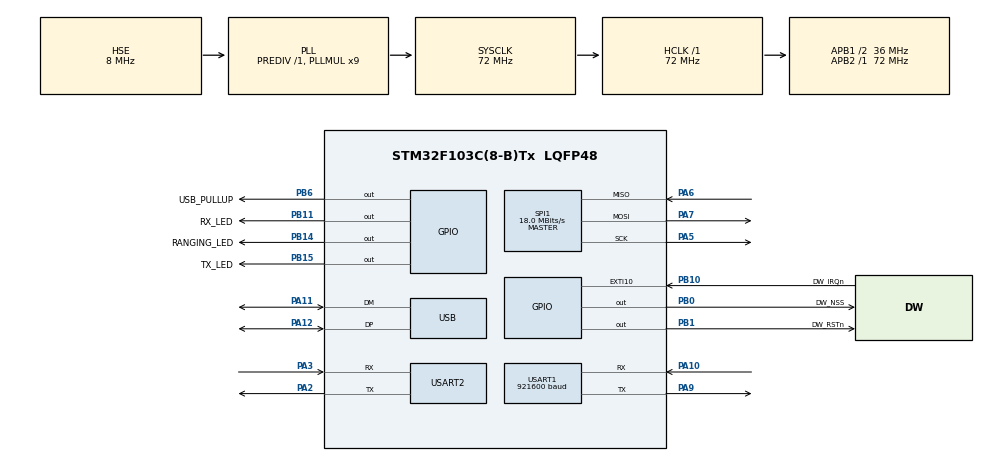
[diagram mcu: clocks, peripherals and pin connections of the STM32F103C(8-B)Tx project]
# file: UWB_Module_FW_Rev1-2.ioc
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Mcu.Family=STM32F1
PA6.Mode=Full_Duplex_Master
USB_DEVICE.CLASS_NAME_FS=CDC
FREERTOS.BinarySemaphores01=dw_irq_sem,Dynamic,NULL;debug_bin_sem,Dynamic,NULL;doRanging,Dynamic,NULL;doBroadcast,Dynamic,NULL;timeoutSem,Dynamic,NULL;usbDataReadySem,Dynamic,NULL
SPI1.VirtualType=VM_MASTER
USART1.BaudRate=921600
PB14.GPIO_Label=RANGING_LED
PA11.Mode=Device
PB0.GPIO_Label=DW_NSS
PB6.GPIO_Label=USB_PULLUP
NVIC.TIM1_UP_IRQn=true\:0\:0\:false\:false\:true\:false\:false\:true
PB11.Signal=GPIO_Output
PB15.Signal=GPIO_Output
PB15.PinState=GPIO_PIN_RESET
RCC.SYSCLKSource=RCC_SYSCLKSOURCE_PLLCLK
ProjectManager.StackSize=0x400
VP_FREERTOS_VS_CMSIS_V2.Mode=CMSIS_V2
PB11.GPIO_Speed=GPIO_SPEED_FREQ_HIGH
PD1-OSC_OUT.Signal=RCC_OSC_OUT
PA12.Signal=USB_DP
PB0.PinState=GPIO_PIN_SET
SPI1.Direction=SPI_DIRECTION_2LINES
PB1.GPIO_PuPd=GPIO_NOPULL
RCC.HCLKFreq_Value=72000000
RCC.APB2TimFreq_Value=72000000
PB6.Signal=GPIO_Output
SPI1.CalculateBaudRate=18.0 MBits/s
TIM2.ClockDivision=TIM_CLOCKDIVISION_DIV4
RCC.AHBFreq_Value=72000000
NVIC.EXTI15_10_IRQn=true\:5\:0\:false\:false\:true\:true\:true\:true
RCC.PLLMUL=RCC_PLL_MUL9
FREERTOS.INCLUDE_xQueueGetMutexHolder=0
PB1.GPIO_Speed=GPIO_SPEED_FREQ_HIGH
PA14.Mode=Serial_Wire
VP_SYS_VS_tim1.Mode=TIM1
PB1.GPIO_Label=DW_RSTn
NVIC.TIM2_IRQn=true\:5\:0\:false\:false\:true\:true\:true\:true
PB1.PinState=GPIO_PIN_SET
Mcu.Package=LQFP48
TIM2.Prescaler=18000
PB1.Signal=GPIO_Output
PA6.Signal=SPI1_MISO
NVIC.TimeBase=TIM1_UP_IRQn
USART2.VirtualMode=VM_ASYNC
NVIC.TimeBaseIP=TIM1
PA10.Signal=USART1_RX
PB11.PinState=GPIO_PIN_RESET
RCC.APB1TimFreq_Value=72000000
SPI1.BaudRatePrescaler=SPI_BAUDRATEPRESCALER_4
PA3.Signal=USART2_RX
PA5.Mode=Full_Duplex_Master
RCC.PLLSourceVirtual=RCC_PLLSOURCE_HSE
FREERTOS.Tasks01=defaultTask,32,200,StartDefaultTask,Default,NULL,Dynamic,NULL,NULL;userIOTask,24,200,StartUserIOTask,Default,NULL,Dynamic,NULL,NULL
PA7.Mode=Full_Duplex_Master
PD1-OSC_OUT.Mode=HSE-External-Oscillator
PA10.Mode=Asynchronous
USB_DEVICE.VirtualModeFS=Cdc_FS
PB11.GPIO_Label=RX_LED
RCC.USBPrescaler=RCC_USBCLKSOURCE_PLL_DIV1_5
PD0-OSC_IN.Signal=RCC_OSC_IN
RCC.APB1CLKDivider=RCC_HCLK_DIV2
FREERTOS.INCLUDE_uxTaskGetStackHighWaterMark=0
PB0.GPIO_Speed=GPIO_SPEED_FREQ_HIGH
PA13.Signal=SYS_JTMS-SWDIO
PA3.Mode=Asynchronous
PA9.Mode=Asynchronous
PB14.PinState=GPIO_PIN_RESET
ProjectManager.TargetToolchain=Makefile
PB14.GPIO_Speed=GPIO_SPEED_FREQ_HIGH
PB10.GPIO_Label=DW_IRQn
VP_USB_DEVICE_VS_USB_DEVICE_CDC_FS.Mode=CDC_FS
PA9.Signal=USART1_TX
RCC.USBFreq_Value=48000000
PD0-OSC_IN.Mode=HSE-External-Oscillator
PB10.Signal=GPXTI10
PB14.Signal=GPIO_Output
PA5.Signal=SPI1_SCK
board=custom
FREERTOS.INCLUDE_eTaskGetState=0
RCC.APB2Freq_Value=72000000
PB15.GPIO_Label=TX_LED
VP_TIM2_VS_ClockSourceINT.Mode=Internal
SPI1.Mode=SPI_MODE_MASTER
PB15.GPIO_Speed=GPIO_SPEED_FREQ_HIGH
NVIC.USB_LP_CAN1_RX0_IRQn=true\:5\:0\:false\:false\:true\:true\:false\:true
TIM2.Period=250
PA13.Mode=Serial_Wire
PB10.GPIO_ModeDefaultEXTI=GPIO_MODE_IT_RISING
Mcu.Name=STM32F103C(8-B)Tx
FREERTOS.INCLUDE_xTaskResumeFromISR=1
FREERTOS.INCLUDE_xSemaphoreGetMutexHolder=0
PA2.Signal=USART2_TX
RCC.SYSCLKFreq_VALUE=72000000
PA12.Mode=Device
USART1.VirtualMode=VM_ASYNC
PB6.PinState=GPIO_PIN_RESET
PA11.Signal=USB_DM
PA14.Signal=SYS_JTCK-SWCLK
ProjectManager.HeapSize=0x200
FREERTOS.Timers01=rangingTimer,rangingTimerCallback,osTimerPeriodic,Default,NULL,Dynamic,NULL;broadcastTimer,broadcastTimerCallback,osTimerPeriodic,Default,NULL,Dynamic,NULL;rangingTimeoutTimer,timeoutCallback,osTimerOnce,Default,NULL,Dynamic,NULL
NVIC.PriorityGroup=NVIC_PRIORITYGROUP_4
PA2.Mode=Asynchronous
TIM2.AutoReloadPreload=TIM_AUTORELOAD_PRELOAD_ENABLE
PB1.GPIO_ModeDefaultOutputPP=GPIO_MODE_OUTPUT_OD
PB6.GPIO_Speed=GPIO_SPEED_FREQ_HIGH
RCC.APB1Freq_Value=36000000
PB0.Signal=GPIO_Output
USB_DEVICE.VirtualMode=Cdc
PA7.Signal=SPI1_MOSI

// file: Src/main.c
/* USER CODE BEGIN Header */
/**
  ******************************************************************************
  * @file           : main.c
  * @brief          : Main program body
  ******************************************************************************
  * @attention
  *
  * <h2><center>&copy; Copyright (c) 2020 STMicroelectronics.
  * All rights reserved.</center></h2>
  *
  * This software component is licensed by ST under Ultimate Liberty license
  * SLA0044, the "License"; You may not use this file except in compliance with
  * the License. You may obtain a copy of the License at:
  *                             www.st.com/SLA0044
  *
  ******************************************************************************
  */
/* USER CODE END Header */

#include "main.h"
#include "cmsis_os.h"
#include "spi.h"
#include "tim.h"
#include "usart.h"
#include "usb_device.h"
#include "gpio.h"

/* USER CODE BEGIN Includes */
#include <inttypes.h>
#include "semphr.h"
#include "string.h"
#include "comm.h"
#include "rtls.h"
/* USER CODE END Includes */

/* USER CODE BEGIN PV */
uint8_t* debug_buf;
AnchorData* anchor_data;
TagData* tag_data;
extern osSemaphoreId_t doRangingHandle;
/* USER CODE END PV */

void SystemClock_Config(void);
void MX_FREERTOS_Init(void);

int main(void)
{

  /* MCU Configuration--------------------------------------------------------*/

  /* Reset of all peripherals, Initializes the Flash interface and the Systick. */
  HAL_Init();

  /* Configure the system clock */
  SystemClock_Config();

  /* Initialize all configured peripherals */
  MX_GPIO_Init();
  MX_SPI1_Init();
  MX_USART1_UART_Init();
  MX_USART2_UART_Init();
  MX_TIM2_Init();
  /* USER CODE BEGIN 2 */
  debug_buf = (uint8_t*)malloc(DEBUG_BUF_SIZE);
  anchor_data = (AnchorData*)malloc((ANCHOR_LIST_SIZE + 1)*sizeof(struct AnchorData));
  tag_data    = (TagData*)malloc(TAG_QUEUE_SIZE*sizeof(TagData));
  /* USER CODE END 2 */

  /* Init scheduler */
  osKernelInitialize();  /* Call init function for freertos objects (in freertos.c) */
  MX_FREERTOS_Init();
  /* Start scheduler */
  osKernelStart();

  /* We should never get here as control is now taken by the scheduler */
  /* Infinite loop */
  while (1)
  {

  }
}

void SystemClock_Config(void)
{
  RCC_OscInitTypeDef RCC_OscInitStruct = {0};
  RCC_ClkInitTypeDef RCC_ClkInitStruct = {0};
  RCC_PeriphCLKInitTypeDef PeriphClkInit = {0};

  /** Initializes the CPU, AHB and APB busses clocks
  */
  RCC_OscInitStruct.OscillatorType = RCC_OSCILLATORTYPE_HSE;
  RCC_OscInitStruct.HSEState = RCC_HSE_ON;
  RCC_OscInitStruct.HSEPredivValue = RCC_HSE_PREDIV_DIV1;
  RCC_OscInitStruct.HSIState = RCC_HSI_ON;
  RCC_OscInitStruct.PLL.PLLState = RCC_PLL_ON;
  RCC_OscInitStruct.PLL.PLLSource = RCC_PLLSOURCE_HSE;
  RCC_OscInitStruct.PLL.PLLMUL = RCC_PLL_MUL9;
  if (HAL_RCC_OscConfig(&RCC_OscInitStruct) != HAL_OK)
  {
    Error_Handler();
  }
  /** Initializes the CPU, AHB and APB busses clocks
  */
  RCC_ClkInitStruct.ClockType = RCC_CLOCKTYPE_HCLK|RCC_CLOCKTYPE_SYSCLK
                              |RCC_CLOCKTYPE_PCLK1|RCC_CLOCKTYPE_PCLK2;
  RCC_ClkInitStruct.SYSCLKSource = RCC_SYSCLKSOURCE_PLLCLK;
  RCC_ClkInitStruct.AHBCLKDivider = RCC_SYSCLK_DIV1;
  RCC_ClkInitStruct.APB1CLKDivider = RCC_HCLK_DIV2;
  RCC_ClkInitStruct.APB2CLKDivider = RCC_HCLK_DIV1;

  if (HAL_RCC_ClockConfig(&RCC_ClkInitStruct, FLASH_LATENCY_2) != HAL_OK)
  {
    Error_Handler();
  }
  PeriphClkInit.PeriphClockSelection = RCC_PERIPHCLK_USB;
  PeriphClkInit.UsbClockSelection = RCC_USBCLKSOURCE_PLL_DIV1_5;
  if (HAL_RCCEx_PeriphCLKConfig(&PeriphClkInit) != HAL_OK)
  {
    Error_Handler();
  }
}

 /**
  * @brief  Period elapsed callback in non blocking mode
  * @note   This function is called  when TIM1 interrupt took place, inside
  * HAL_TIM_IRQHandler(). It makes a direct call to HAL_IncTick() to increment
  * a global variable "uwTick" used as application time base.
  * @param  htim : TIM handle
  * @retval None
  */
void HAL_TIM_PeriodElapsedCallback(TIM_HandleTypeDef *htim)
{
  if (htim->Instance == TIM1) {
    HAL_IncTick();
  }
  /* USER CODE BEGIN Callback 1 */
  // if (htim->Instance == TIM2){
  //   xSemaphoreGiveFromISR(doRangingHandle, NULL);
  // }
  /* USER CODE END Callback 1 */
}

void Error_Handler(void)
{
}

/************************ (C) COPYRIGHT STMicroelectronics *****END OF FILE****/

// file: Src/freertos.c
/* USER CODE BEGIN Header */
/**
  ******************************************************************************
  * File Name          : freertos.c
  * Description        : Code for freertos applications
  ******************************************************************************
  * @attention
  *
  * <h2><center>&copy; Copyright (c) 2020 STMicroelectronics.
  * All rights reserved.</center></h2>
  *
  * This software component is licensed by ST under Ultimate Liberty license
  * SLA0044, the "License"; You may not use this file except in compliance with
  * the License. You may obtain a copy of the License at:
  *                             www.st.com/SLA0044
  *
  ******************************************************************************
  */
/* USER CODE END Header */

#include "FreeRTOS.h"
#include "task.h"
#include "main.h"
#include "cmsis_os.h"

/* USER CODE BEGIN Includes */
#include <inttypes.h>
#include "semphr.h"
#include "usb_device.h"
#include "usbd_cdc_if.h"
#include "string.h"
#include "comm.h"
#include "rtls.h"
#include "usart.h"
#include "printf.h"
/* USER CODE END Includes */

/* USER CODE BEGIN PD */
#define IF_TYPE_USB 	0x01
#define IF_TYPE_UART 	0x02
/* USER CODE END PD */

/* USER CODE BEGIN Variables */
extern uint8_t* debug_buf;
int debug_buf_offset = 0; // indicates length of the string in debug_buf
char debug_text[80];
char scratch_buf[128];
int print_ind = 0;

static dwt_config_t config = {
		2,               /* Channel number. */
		DWT_PRF_64M,     /* Pulse repetition frequency. */
		DWT_PLEN_128,   /* Preamble length. Used in TX only. */
		DWT_PAC8,       /* Preamble acquisition chunk size. Used in RX only. */
		9,               /* TX preamble code. Used in TX only. */
		9,               /* RX preamble code. Used in RX only. */
		0,               /* 0 to use standard SFD, 1 to use non-standard SFD. */
		DWT_BR_6M8,      /* Data rate. */
		DWT_PHRMODE_STD, /* PHY header mode. */
		(1025 + 64)    	 /* SFD timeout (preamble length + 1 + SFD length - PAC size). Used in RX only. */
};

state_data_t 	state_data;
CONFIG_FIELD_TYPE self_config[FIELD_SIZE*NUM_FIELDS]; 	// configuration for ourselves
extern AnchorData* anchor_data;
extern TagData* tag_data;
extern uint8_t UserRxBufferFS[];
extern uint8_t UserTxBufferFS[];
state_t 		state 		= IDLE;
HAL_StatusTypeDef 	UART_status;
HAL_StatusTypeDef 	uart2_status; 	// status of uart2
int8_t 				usb_status;
uint32_t 			bytes_read; 	//
uint8_t packet[INPUT_BUFFER_SIZE]; 	// will hold received packet from host
uint8_t packet_type = 0; 			// type of received packet
int packet_len 	= 0; 			// length of received packet
int packet_rcvd 	= 0; 			// indicate if packet has been received and how to process it
uint8_t send_buf[SEND_BUF_SIZE]; 	// lorge buffer for response packet
int usb_ind = 0;

/* USER CODE END Variables */
/* Definitions for defaultTask */
osThreadId_t defaultTaskHandle;
const osThreadAttr_t defaultTask_attributes = {
  .name = "defaultTask",
  .priority = (osPriority_t) osPriorityAboveNormal,
  .stack_size = 200 * 4
};
/* Definitions for userIOTask */
osThreadId_t userIOTaskHandle;
const osThreadAttr_t userIOTask_attributes = {
  .name = "userIOTask",
  .priority = (osPriority_t) osPriorityNormal,
  .stack_size = 200 * 4
};
/* Definitions for rangingTimer */
osTimerId_t rangingTimerHandle;
const osTimerAttr_t rangingTimer_attributes = {
  .name = "rangingTimer"
};
/* Definitions for broadcastTimer */
osTimerId_t broadcastTimerHandle;
const osTimerAttr_t broadcastTimer_attributes = {
  .name = "broadcastTimer"
};
/* Definitions for rangingTimeoutTimer */
osTimerId_t rangingTimeoutTimerHandle;
const osTimerAttr_t rangingTimeoutTimer_attributes = {
  .name = "rangingTimeoutTimer"
};
/* Definitions for dw_irq_sem */
osSemaphoreId_t dw_irq_semHandle;
const osSemaphoreAttr_t dw_irq_sem_attributes = {
  .name = "dw_irq_sem"
};
/* Definitions for debug_bin_sem */
osSemaphoreId_t debug_bin_semHandle;
const osSemaphoreAttr_t debug_bin_sem_attributes = {
  .name = "debug_bin_sem"
};
/* Definitions for doRanging */
osSemaphoreId_t doRangingHandle;
const osSemaphoreAttr_t doRanging_attributes = {
  .name = "doRanging"
};
/* Definitions for doBroadcast */
osSemaphoreId_t doBroadcastHandle;
const osSemaphoreAttr_t doBroadcast_attributes = {
  .name = "doBroadcast"
};
/* Definitions for timeoutSem */
osSemaphoreId_t timeoutSemHandle;
const osSemaphoreAttr_t timeoutSem_attributes = {
  .name = "timeoutSem"
};
/* Definitions for usbDataReadySem */
osSemaphoreId_t usbDataReadySemHandle;
const osSemaphoreAttr_t usbDataReadySem_attributes = {
  .name = "usbDataReadySem"
};

/* USER CODE BEGIN FunctionPrototypes */
bool debug_put(char* text);
/* USER CODE END FunctionPrototypes */

void StartDefaultTask(void *argument);
void StartUserIOTask(void *argument);
void rangingTimerCallback(void *argument);
void broadcastTimerCallback(void *argument);
void timeoutCallback(void *argument);

extern void MX_USB_DEVICE_Init(void);
void MX_FREERTOS_Init(void); /* (MISRA C 2004 rule 8.1) */

void MX_FREERTOS_Init(void) {

  /* Create the semaphores(s) */
  /* creation of dw_irq_sem */
  dw_irq_semHandle = osSemaphoreNew(1, 1, &dw_irq_sem_attributes);

  /* creation of debug_bin_sem */
  debug_bin_semHandle = osSemaphoreNew(1, 1, &debug_bin_sem_attributes);

  /* creation of doRanging */
  doRangingHandle = osSemaphoreNew(1, 1, &doRanging_attributes);

  /* creation of doBroadcast */
  doBroadcastHandle = osSemaphoreNew(1, 1, &doBroadcast_attributes);

  /* creation of timeoutSem */
  timeoutSemHandle = osSemaphoreNew(1, 1, &timeoutSem_attributes);

  /* creation of usbDataReadySem */
  usbDataReadySemHandle = osSemaphoreNew(1, 1, &usbDataReadySem_attributes);

  /* Create the timer(s) */
  /* creation of rangingTimer */
  rangingTimerHandle = osTimerNew(rangingTimerCallback, osTimerPeriodic, NULL, &rangingTimer_attributes);

  /* creation of broadcastTimer */
  broadcastTimerHandle = osTimerNew(broadcastTimerCallback, osTimerPeriodic, NULL, &broadcastTimer_attributes);

  /* creation of rangingTimeoutTimer */
  rangingTimeoutTimerHandle = osTimerNew(timeoutCallback, osTimerOnce, NULL, &rangingTimeoutTimer_attributes);

  /* Create the thread(s) */
  /* creation of defaultTask */
  defaultTaskHandle = osThreadNew(StartDefaultTask, NULL, &defaultTask_attributes);

  /* creation of userIOTask */
  userIOTaskHandle = osThreadNew(StartUserIOTask, NULL, &userIOTask_attributes);

}

void StartDefaultTask(void *argument)
{
  /* init code for USB_DEVICE */
  MX_USB_DEVICE_Init();
  /* USER CODE BEGIN StartDefaultTask */
  init_anchor_array(anchor_data, ANCHOR_LIST_SIZE + 1);
  state_data.anchors = anchor_data;
  state_data.tags = tag_data;
  init_field_memory(self_config); // set everything to defaults
  read_config_from_eeprom(self_config); 	// pull any existing values from flash
  init_from_config(self_config, &config, &state_data); // inititalize the DWM1000 from our fields

  osDelay(state_data.self_id * 10); // stagger startup times

  if(state_data.mode == DEVICE_MODE_TAG){
		osTimerStart(rangingTimerHandle, state_data.ranging_period); // start the ranging timer
  }else{
		osTimerStart(broadcastTimerHandle, ANCHOR_BROADCAST_PERIOD + 10*state_data.self_id); // start the broadcast timer
  }
  /* Infinite loop */
  for(;;)
  {
    // Check if we've received a frame
    if(osSemaphoreAcquire(dw_irq_semHandle, 20) == osOK && read_rx_frame(state_data.rx_buffer) > 0){
      // we've received a frame
      // debug_put("Frame received\r\n");
			if(state_data.rx_buffer[MAC_SIZE_EXPECTED] == ANCHOR_BROADCAST){
        // debug_put("Processing Broadcast\r\n");
				process_anchor_broadcast(&state_data); // this also reenables receiver
			}else if(state_data.mode == DEVICE_MODE_TAG){
        // ==== NEW FRAME STATE MACHINE ====
        switch(state_data.state){
          case IDLE:{
            dwt_rxenable(DWT_START_RX_IMMEDIATE); // re-enable receiver and listen for broadcast
            osDelay(2); // while idle, delay between loop iterations
            break;
          }case WAIT_FOR_RESPONSE:{
            if(state_data.rx_buffer[MAC_SIZE_EXPECTED] == RESPONSE_INIT &&
              get_src_addr(state_data.rx_buffer) == state_data.transact_id){

              state_data.t_rr = get_rx_timestamp();

              send_response_final(&state_data);

              if(state_data.tx_status == TX_SUCCESS){
                set_wait_for_data(&state_data); // also enables receiver
                // debug_put("Got response\r\n");
              }else{
                debug_put("Transmit failed.\r\n");
                dwt_forcetrxoff();
                // init_from_config(self_config, &config, &state_data); // just reinitialize
                set_state_tag_idle(&state_data);
                osDelay(5);
              }

            }
            else{
              dwt_rxenable(DWT_START_RX_IMMEDIATE); // re-enable receiver and keep listening
            }
            break;
          }case WAIT_FOR_DATA:{
            if(state_data.rx_buffer[MAC_SIZE_EXPECTED] == RESPONSE_DATA && get_src_addr(state_data.rx_buffer) == state_data.transact_id){

              osTimerStop(rangingTimeoutTimerHandle); // stop the timeout timer

              AnchorData* anchor = &(state_data.anchors[state_data.anchor_ind]);

              // COPY ALL THE DATA OVER
              int ind = MAC_SIZE_EXPECTED + 1; // index for start of timestamps
              memcpy(&state_data.t_rp, state_data.rx_buffer + ind, sizeof(state_data.t_rp));
              ind += sizeof(state_data.t_rp);
              memcpy(&state_data.t_sr, state_data.rx_buffer + ind, sizeof(state_data.t_sr));
              ind += sizeof(state_data.t_sr);
              memcpy(&state_data.t_rf, state_data.rx_buffer + ind, sizeof(state_data.t_rf));
              ind += sizeof(state_data.t_rf);
              memcpy(&anchor->x, state_data.rx_buffer + ind, sizeof(anchor->x));
              ind += sizeof(anchor->x);
              memcpy(&anchor->y, state_data.rx_buffer + ind, sizeof(anchor->y));
              ind += sizeof(anchor->y);
              memcpy(&anchor->z, state_data.rx_buffer + ind, sizeof(anchor->z));
              ind += sizeof(anchor->z);
              anchor->timestamp = HAL_GetTick();

              get_tof(&state_data); // updates the tof field

              state_data.distance = DISTANCE_FROM_TOF(state_data.tof);

              anchor->timeout_count = 0; // only a successful ranging transaction will reset this counter
              anchor->distance = state_data.distance;
              sprintf(debug_text, "Distance to anchor %d is %.3f\r\n", anchor->id, anchor->distance);
              debug_put(debug_text);

              set_state_tag_idle(&state_data); 		// back to idle state

              next_anchor(&state_data); 				// increment anchor index

              osDelay(5);
            }
            break;
          }default:{
            set_state_tag_idle(&state_data);
            break;
          }
        }
        // dwt_rxenable(DWT_START_RX_IMMEDIATE); 	// finally, re-enable receiver and keep listening
      }else if(state_data.mode == DEVICE_MODE_ANCHOR){
        // react based on the frame type
        switch(state_data.rx_buffer[MAC_SIZE_EXPECTED]){
          case POLL:{

            state_data.t_rp = get_rx_timestamp(); 		// stash rx timestamp
            state_data.transact_id = get_src_addr(state_data.rx_buffer); // indicate who we're talking with

            // sprintf(debug_text, "Poll received from %d\r\n", state_data.transact_id);
            // debug_put(debug_text);

            TagData new_tag;
            int ind = find_tag(state_data.transact_id, state_data.tags);
            if(ind < 0){
              // didn't find it, so try to add it
              ind = add_tag(new_tag, state_data.tags);
            }

            if(ind >= 0){
              // we were able to add it
              enable_ranging(&state_data); // indicate ranging in progress
              state_data.tags[ind].active = 1;
              state_data.tags[ind].id = state_data.transact_id;
              state_data.tags[ind].t_rp = state_data.t_rp;

              dwt_forcetrxoff(); // seems we need to do this
              send_response_init(&state_data); 	// send a RESPONSE_INIT frame & stash t_sr timestamp
              state_data.tags[ind].t_sr = state_data.t_sr; // copy over for when we need to respond

              if(state_data.tx_status != TX_SUCCESS){
                init_from_config(self_config, &config, &state_data); // just reinitialize
              }else{
                // osTimerStart(rangingTimeoutTimerHandle, RANGING_TIMEOUT); // start the ranging timeout timer
                // osSemaphoreAcquire(timeoutSemHandle, 0);
              }
            }else{
              debug_put("Can't add tag, queue full\r\n");
            }

            break;
          }case SEND_FINAL:{
            state_data.transact_id = get_src_addr(state_data.rx_buffer); //
            state_data.t_rf = get_rx_timestamp(); 	// stash the timestamp

            int ind = find_tag(state_data.transact_id, state_data.tags);
            if(ind >= 0 && state_data.tags[ind].active){
              // we have a tag matching this transaction id and it's active
              state_data.t_rp = state_data.tags[ind].t_rp;
              state_data.t_sr = state_data.tags[ind].t_sr;
              state_data.tags[ind].t_rf = state_data.t_rf;

              send_response_data(&state_data); 		// send a RESPONSE_DATA frame. it packages all the timestamps from state_data
              disable_ranging(&state_data);
              state_data.tags[ind].active = 0;    // reset this flag since we're now done ranging with it
            }
            break;
          }default:{
            break;
          }
        }
        dwt_rxenable(DWT_START_RX_IMMEDIATE); // finally, make sure receiver is enabled
      }
    }// end if new frame
    else{
      // no RX Interrupt, but do the following anyway. Seems anchors don't work without this
      dwt_rxenable(DWT_START_RX_IMMEDIATE); // make sure receiver is enabled
    }

    // ---- Check if it's time for ranging ----
    if(state_data.mode == DEVICE_MODE_TAG && !state_data.ranging && state_data.num_anchors > 0 && osSemaphoreAcquire(doRangingHandle, 5) == osOK){
      enable_ranging(&state_data);

      dwt_forcetrxoff(); // in case we were in RX mode looking for a beacon frame

      // select whichever anchor we're ranging with
      state_data.transact_id = state_data.anchors[state_data.anchor_ind].id;

      // sprintf(debug_text, "ranging with %d, index %d\r\n", state_data.transact_id, state_data.anchor_ind);
      // debug_put(debug_text);

      int data_len = rtls_make_mac_header(&state_data, FRAME_TYPE_DATA); //make_mac_header(state_data.tx_buffer, state_data.transact_id, state_data.transact_id, state_data.seq_num);
      state_data.tx_buffer[data_len++] = POLL; // right after the MAC header

      if(transmit_frame(state_data.tx_buffer, data_len + 2, 1) != TX_SUCCESS){
        debug_put("Transmit failed.\r\n");
        dwt_forcetrxoff();
        // init_from_config(self_config, &config, &state_data); // just reinitialize
        set_state_tag_idle(&state_data);
        osDelay(5);
      }else{
        set_wait_for_repsonse(&state_data); // advance state machine and enable receiver
        state_data.t_sp = get_tx_timestamp();

        if(osTimerIsRunning(rangingTimeoutTimerHandle)){
          osTimerStop(rangingTimeoutTimerHandle);
        }
        osTimerStart(rangingTimeoutTimerHandle, RANGING_TIMEOUT); // start the ranging timeout timer
        osSemaphoreAcquire(timeoutSemHandle, 0);
      }
    }
    // or time for broadcasting
    else if(state_data.mode == DEVICE_MODE_ANCHOR && osSemaphoreAcquire(doBroadcastHandle, 0) == osOK){
      // debug_put("Broadcasting...\r\n");
			dwt_forcetrxoff();
      send_anchor_broadcast(&state_data);
      // uint16_t tempvbat = dwt_readtempvbat(1);
      dwt_rxenable(DWT_START_RX_IMMEDIATE); // re-enable receiver and keep listening
    }

    // ---- TIMEOUT ----
    if(state_data.ranging && osSemaphoreAcquire(timeoutSemHandle, 0) == osOK){ //

      sprintf(debug_text, "timed out with %d\r\n", state_data.transact_id);
      debug_put(debug_text);
      if(check_rx_state() != 0){
        debug_put("RX RESET\r\n");
        osDelay(10);
      }
      disable_ranging(&state_data);       // reset flag
      if(state_data.mode == DEVICE_MODE_TAG){
        state_data.anchors[state_data.anchor_ind].timeout_count++;
        state_data.num_anchors -= remove_dead_anchors(state_data.anchors, state_data.num_anchors);
        set_state_tag_idle(&state_data);  // back to idle state
        next_anchor(&state_data); 				// increment anchor index
        osDelay(5);
      }
      // perhaps the other side was busy for some reason.
      // If so, delay for a short while to prevent overlap with other devices
      osDelay(5);
    }
    // we should only insert loop delay when we're not in a ranging transaction
    // osDelay(1);
  }
  /* USER CODE END StartDefaultTask */
}

void StartUserIOTask(void *argument)
{
  /* USER CODE BEGIN StartUserIOTask */
  /* Infinite loop */
  osDelay(100);
  for(;;)
  {
    if(debug_buf_offset > 0){
      HAL_UART_Transmit(&huart1, debug_buf, debug_buf_offset, 5);
      debug_buf_offset = 0;
    }
    // ---- check Interfaces for data ----
	  uart2_status = HAL_UART_Receive(&huart2, packet, HDDR_LEN, 1);
		if((packet_type = packet[0]) != 0 && uart2_status == HAL_OK){
			HAL_GPIO_WritePin(RX_LED_GPIO_Port, RX_LED_Pin, GPIO_PIN_SET);
			packet_len = HDDR_LEN + packet[1] + 1; 	// get the packet length

			if(packet_len > INPUT_BUFFER_SIZE)
				packet_len = INPUT_BUFFER_SIZE; // clamp packet_len just in case

			// read the packet
			uart2_status = HAL_UART_Receive(&huart2, packet + HDDR_LEN, packet[1] + 1, INPUT_TIMEOUT);

			// if all is well
			if(uart2_status == HAL_OK && packet[packet_len - 1] == STOP_BYTE){
				packet_rcvd = IF_TYPE_UART;
			}

			HAL_GPIO_WritePin(RX_LED_GPIO_Port, RX_LED_Pin, GPIO_PIN_RESET);

		}else if(osSemaphoreAcquire(usbDataReadySemHandle, 1) == osOK && (packet_type = UserRxBufferFS[0]) != 0){
      // debug_put("USB data\r\n");
			HAL_GPIO_WritePin(RX_LED_GPIO_Port, RX_LED_Pin, GPIO_PIN_SET);
			packet_len 	= UserRxBufferFS[1] + HDDR_LEN + 1;

			if(packet_len > INPUT_BUFFER_SIZE)
				packet_len = INPUT_BUFFER_SIZE; // clamp packet_len just in case

			if(UserRxBufferFS[packet_len - 1] == STOP_BYTE){
				packet_rcvd = IF_TYPE_USB;
				memcpy(packet, UserRxBufferFS, packet_len);
			}

			// memset(UserRxBufferFS, 0, packet_len);
      UserRxBufferFS[0] = 0;

			HAL_GPIO_WritePin(RX_LED_GPIO_Port, RX_LED_Pin, GPIO_PIN_RESET);
    }

    // ---- if received, process the data ----
    if(packet_rcvd > 0){
      // debug_put("Processing data\r\n");
      int packet_status = process_packet(packet, UserTxBufferFS, self_config, &state_data);

      if(packet_status == PACKET_OK){
        if(packet[0] == CMD_SET_CONFIG){
          init_from_config(self_config, &config, &state_data); // re-initialize with the new parameters
          save_fields_to_eeprom(self_config);

          if(state_data.mode == DEVICE_MODE_TAG){
            osTimerStop(broadcastTimerHandle);
		        osTimerStart(rangingTimerHandle, state_data.ranging_period); // start the ranging timer
          }else{
            osTimerStop(rangingTimerHandle);
            osTimerStart(broadcastTimerHandle, ANCHOR_BROADCAST_PERIOD); // start the broadcast timer
          }

        }
      }else{
        debug_put("Packet error\r\n");
      }
      int send_size = HDDR_LEN + UserTxBufferFS[1] + 1;
      switch(packet_rcvd){
      case IF_TYPE_UART:{
        HAL_GPIO_WritePin(TX_LED_GPIO_Port, TX_LED_Pin, GPIO_PIN_SET);
        uart2_status = HAL_UART_Transmit(&huart2, UserTxBufferFS, send_size, INPUT_TIMEOUT);
        HAL_GPIO_WritePin(TX_LED_GPIO_Port, TX_LED_Pin, GPIO_PIN_RESET);
        break;}
      case IF_TYPE_USB:{
        HAL_GPIO_WritePin(TX_LED_GPIO_Port, TX_LED_Pin, GPIO_PIN_SET);
        if(CDC_Transmit_FS(UserTxBufferFS, send_size) != USBD_OK){
          debug_put("Couldn't transmit over USB\r\n");
        }
        HAL_GPIO_WritePin(TX_LED_GPIO_Port, TX_LED_Pin, GPIO_PIN_RESET);
        break;}
      default:{
        break;}
      }
      packet_rcvd = 0; // reset this flag
    }
    // debug_put("USER IO LOOP\r\n");
    osDelay(25);
  }
  /* USER CODE END StartUserIOTask */
}

/* rangingTimerCallback function */
void rangingTimerCallback(void *argument)
{
  /* USER CODE BEGIN rangingTimerCallback */
  // osSemaphoreRelease(doRangingHandle);
  long task_woken = 0;
  xSemaphoreGiveFromISR(doRangingHandle, &task_woken);
  if(task_woken){
    xTaskResumeFromISR(defaultTaskHandle);
  }
  /* USER CODE END rangingTimerCallback */
}

/* broadcastTimerCallback function */
void broadcastTimerCallback(void *argument)
{
  /* USER CODE BEGIN broadcastTimerCallback */
  // osSemaphoreRelease(doBroadcastHandle);
  xSemaphoreGiveFromISR(doBroadcastHandle, NULL);
  /* USER CODE END broadcastTimerCallback */
}

/* timeoutCallback function */
void timeoutCallback(void *argument)
{
  /* USER CODE BEGIN timeoutCallback */
  xSemaphoreGiveFromISR(timeoutSemHandle, NULL); // indicate that a timeout occurred
  // xTaskResumeFromISR(defaultTaskHandle);
  // HAL_GPIO_TogglePin(RX_LED_GPIO_Port, RX_LED_Pin);
  /* USER CODE END timeoutCallback */
}

/* USER CODE BEGIN Application */

/**
 * callback to run when the DWM_IRQn pin goes HIGH, indicating frame reception
 */
void HAL_GPIO_EXTI_Callback(uint16_t GPIO_Pin){

	if(GPIO_Pin == DW_IRQn_Pin){
    // osSemaphoreRelease(dw_irq_semHandle);
    long task_woken = 0;
    xSemaphoreGiveFromISR(dw_irq_semHandle, &task_woken);
    if(task_woken){
      xTaskResumeFromISR(defaultTaskHandle);
    }
  }

}

void debug(char* text){
  HAL_UART_Transmit(&huart1, text, strlen(text), 10);
}

bool debug_put(char* text){
  sprintf(scratch_buf, "[%10d] : %s", HAL_GetTick(), text);
  int len = strlen(scratch_buf);
  if((debug_buf_offset + len) > DEBUG_BUF_SIZE){
    len = DEBUG_BUF_SIZE - debug_buf_offset; // clamp length so we don't overrun debug_buf
  }
  memcpy(debug_buf + debug_buf_offset, scratch_buf, len);
  debug_buf_offset += len;

  return len > 0;
}
/* USER CODE END Application */

/************************ (C) COPYRIGHT STMicroelectronics *****END OF FILE****/
